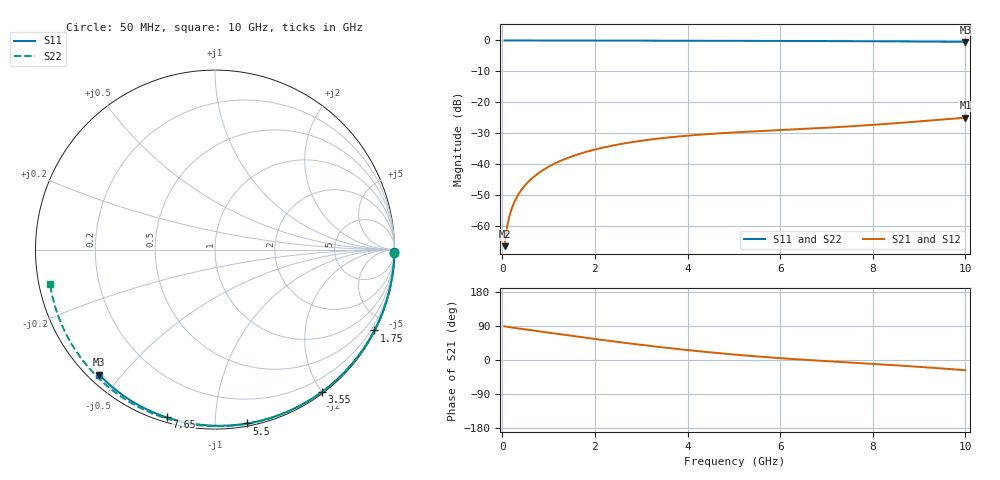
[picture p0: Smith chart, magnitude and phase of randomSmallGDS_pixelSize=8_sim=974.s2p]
! freq	dB(S11)	phase(S11)	dB(S12)	phase(S12)
!  dB(S21)	phase(S21)	dB(S22)	phase(S22)
!S-par simulation data
#  GHz  S  DB  R 50
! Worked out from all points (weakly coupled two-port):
!   200 points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, 50 MHz to 10 GHz, reference 50 ohm
!   highest |S21| = -24.95 dB at 10 GHz (marker M1); lowest = -66.5 dB at 50 MHz (marker M2)
!   lowest |S11| = -0.4 dB at 10 GHz (marker M3), VSWR 38.79, Z = 1.53 - j21.8 ohm
!   |S11| at or under -10 dB: nowhere
!   |S22| runs from -0.6 to 0.0 dB; largest |S21 - S12| = 0
!   S11 on the Smith chart (normalised r, x): 50 MHz: open; 1.75 GHz: 0.04, -4.19; 3.55 GHz: 0.02, -2.00; 5.5 GHz: 0.02, -1.20; 7.65 GHz: 0.02, -0.75; 10 GHz: 0.03, -0.44
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0.05  -0.00 -0.8  -66.50 88.9  -66.50 88.9  -0.00 -1.0
0.1  -0.00 -1.6  -60.50 87.8  -60.50 87.8  -0.00 -2.0
0.15  -0.00 -2.3  -57.00 86.8  -57.00 86.8  -0.00 -3.0
0.2  -0.00 -3.1  -54.53 85.8  -54.53 85.8  -0.00 -4.0
0.25  -0.00 -3.9  -52.62 84.9  -52.62 84.9  -0.00 -5.0
0.35  -0.00 -5.5  -49.74 83.2  -49.74 83.2  -0.01 -7.0
0.5  -0.01 -7.8  -46.69 80.6  -46.69 80.6  -0.01 -10.0
0.7  -0.01 -10.9  -43.82 77.2  -43.82 77.2  -0.02 -13.9
1  -0.02 -15.5  -40.82 72.1  -40.82 72.1  -0.02 -19.8
1.35  -0.03 -20.8  -38.34 66.2  -38.34 66.2  -0.03 -26.6
1.75  -0.03 -26.9  -36.27 59.5  -36.27 59.5  -0.04 -34.3
2.6  -0.05 -39.5  -33.36 46.0  -33.36 46.0  -0.07 -50.2
3.4  -0.07 -51.0  -31.66 34.2  -31.66 34.2  -0.09 -64.7
3.55  -0.07 -53.2  -31.42 32.1  -31.42 32.1  -0.09 -67.3
4.3  -0.09 -63.6  -30.42 22.4  -30.42 22.4  -0.12 -80.2
5.05  -0.12 -73.7  -29.70 13.9  -29.70 13.9  -0.14 -92.7
5.5  -0.13 -79.5  -29.34 9.4  -29.34 9.4  -0.16 -99.9
6.7  -0.18 -94.6  -28.45 -0.8  -28.45 -0.8  -0.23 -118.5
7.65  -0.24 -106.0  -27.63 -7.7  -27.63 -7.7  -0.30 -132.9
8.35  -0.29 -114.2  -26.91 -12.9  -26.91 -12.9  -0.36 -143.3
9.2  -0.37 -123.9  -25.93 -19.8  -25.93 -19.8  -0.45 -156.1
10  -0.45 -132.9  -24.95 -27.0  -24.95 -27.0  -0.55 -168.4
